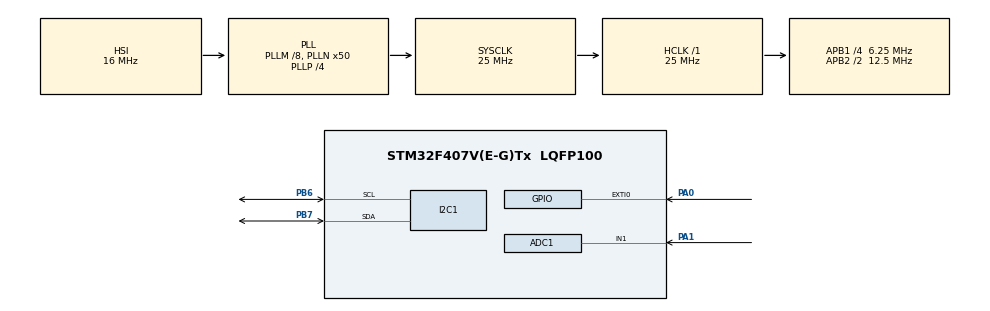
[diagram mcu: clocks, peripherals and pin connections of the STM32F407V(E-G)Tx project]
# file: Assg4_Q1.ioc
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ADC1.Channel-1\#ChannelRegularConversion=ADC_CHANNEL_1
ADC1.ClockPrescaler=ADC_CLOCK_SYNC_PCLK_DIV4
ADC1.NbrOfConversionFlag=1
ADC1.Rank-1\#ChannelRegularConversion=1
ADC1.SamplingTime-1\#ChannelRegularConversion=ADC_SAMPLETIME_3CYCLES
ADC1.master=1
Mcu.Family=STM32F4
Mcu.Name=STM32F407V(E-G)Tx
Mcu.Package=LQFP100
NVIC.PriorityGroup=NVIC_PRIORITYGROUP_0
PA0-WKUP.Signal=GPXTI0
PA1.Signal=ADCx_IN1
PB6.Mode=I2C
PB6.Signal=I2C1_SCL
PB7.Mode=I2C
PB7.Signal=I2C1_SDA
ProjectManager.HeapSize=0x200
ProjectManager.StackSize=0x400
ProjectManager.TargetToolchain=STM32CubeIDE
RCC.48MHZClocksFreq_Value=14285714.285714285
RCC.AHBFreq_Value=25000000
RCC.APB1CLKDivider=RCC_HCLK_DIV4
RCC.APB1Freq_Value=6250000
RCC.APB1TimFreq_Value=12500000
RCC.APB2CLKDivider=RCC_HCLK_DIV2
RCC.APB2Freq_Value=12500000
RCC.APB2TimFreq_Value=25000000
RCC.CortexFreq_Value=25000000
RCC.HCLKFreq_Value=25000000
RCC.HSE_VALUE=8000000
RCC.HSI_VALUE=16000000
RCC.LSE_VALUE=32768
RCC.PLLM=8
RCC.PLLN=50
RCC.PLLP=RCC_PLLP_DIV4
RCC.PLLQ=7
RCC.SYSCLKFreq_VALUE=25000000
RCC.SYSCLKSource=RCC_SYSCLKSOURCE_PLLCLK
RCC.VCOOutputFreq_Value=100000000
SH.ADCx_IN1.0=ADC1_IN1,IN1
board=STM32F407G-DISC1

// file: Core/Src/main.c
/* USER CODE BEGIN Header */
/**
  ******************************************************************************
  * @file           : main.c
  * @brief          : Main program body
  ******************************************************************************
  * @attention
  *
  * Copyright (c) 2026 STMicroelectronics.
  * All rights reserved.
  *
  * This software is licensed under terms that can be found in the LICENSE file
  * in the root directory of this software component.
  * If no LICENSE file comes with this software, it is provided AS-IS.
  *
  ******************************************************************************
  */
/* USER CODE END Header */
#include "main.h"

/* USER CODE BEGIN Includes */
#include "lcd.h"
#include<stdio.h>
#include<string.h>

/* USER CODE END Includes */

ADC_HandleTypeDef hadc1;

I2C_HandleTypeDef hi2c1;

void SystemClock_Config(void);
static void MX_GPIO_Init(void);
static void MX_ADC1_Init(void);
static void MX_I2C1_Init(void);

int main(void)
{

  /* MCU Configuration--------------------------------------------------------*/

  /* Reset of all peripherals, Initializes the Flash interface and the Systick. */
  HAL_Init();

  /* Configure the system clock */
  SystemClock_Config();

  /* Initialize all configured peripherals */
  MX_GPIO_Init();
  MX_ADC1_Init();
  MX_I2C1_Init();
  /* USER CODE BEGIN 2 */
lcd_init();
lcd_puts(LCD_LINE1, " LDR Monitor ");
lcd_puts(LCD_LINE2, "Press Button...");
/* USER CODE END 2 */

  /* Infinite loop */
  /* USER CODE BEGIN WHILE */
  while (1)
  {
	  if(HAL_GPIO_ReadPin(GPIOA, GPIO_PIN_0) == GPIO_PIN_SET)
	  {
		  uint32_t ldr_val = 0;
		  char lcd_buffer[16] = {0};

		  HAL_ADC_Start(&hadc1);
		  if(HAL_ADC_PollForConversion(&hadc1, 10) == HAL_OK)
		  {
			  ldr_val = HAL_ADC_GetValue(&hadc1);
		  }
		  HAL_ADC_Stop(&hadc1);
		  sprintf(lcd_buffer, "LDR Value:%4lu ", ldr_val);

		  lcd_puts(LCD_LINE2, lcd_buffer);

		  HAL_Delay(250);
	  }
    /* USER CODE END WHILE */

  }
}

void SystemClock_Config(void)
{
  RCC_OscInitTypeDef RCC_OscInitStruct = {0};
  RCC_ClkInitTypeDef RCC_ClkInitStruct = {0};

  /** Configure the main internal regulator output voltage
  */
  __HAL_RCC_PWR_CLK_ENABLE();
  __HAL_PWR_VOLTAGESCALING_CONFIG(PWR_REGULATOR_VOLTAGE_SCALE1);

  /** Initializes the RCC Oscillators according to the specified parameters
  * in the RCC_OscInitTypeDef structure.
  */
  RCC_OscInitStruct.OscillatorType = RCC_OSCILLATORTYPE_HSI;
  RCC_OscInitStruct.HSIState = RCC_HSI_ON;
  RCC_OscInitStruct.HSICalibrationValue = RCC_HSICALIBRATION_DEFAULT;
  RCC_OscInitStruct.PLL.PLLState = RCC_PLL_ON;
  RCC_OscInitStruct.PLL.PLLSource = RCC_PLLSOURCE_HSI;
  RCC_OscInitStruct.PLL.PLLM = 8;
  RCC_OscInitStruct.PLL.PLLN = 50;
  RCC_OscInitStruct.PLL.PLLP = RCC_PLLP_DIV4;
  RCC_OscInitStruct.PLL.PLLQ = 7;
  if (HAL_RCC_OscConfig(&RCC_OscInitStruct) != HAL_OK)
  {
    Error_Handler();
  }

  /** Initializes the CPU, AHB and APB buses clocks
  */
  RCC_ClkInitStruct.ClockType = RCC_CLOCKTYPE_HCLK|RCC_CLOCKTYPE_SYSCLK
                              |RCC_CLOCKTYPE_PCLK1|RCC_CLOCKTYPE_PCLK2;
  RCC_ClkInitStruct.SYSCLKSource = RCC_SYSCLKSOURCE_PLLCLK;
  RCC_ClkInitStruct.AHBCLKDivider = RCC_SYSCLK_DIV1;
  RCC_ClkInitStruct.APB1CLKDivider = RCC_HCLK_DIV4;
  RCC_ClkInitStruct.APB2CLKDivider = RCC_HCLK_DIV2;

  if (HAL_RCC_ClockConfig(&RCC_ClkInitStruct, FLASH_LATENCY_0) != HAL_OK)
  {
    Error_Handler();
  }
}

static void MX_ADC1_Init(void)
{

  ADC_ChannelConfTypeDef sConfig = {0};

  /** Configure the global features of the ADC (Clock, Resolution, Data Alignment and number of conversion)
  */
  hadc1.Instance = ADC1;
  hadc1.Init.ClockPrescaler = ADC_CLOCK_SYNC_PCLK_DIV4;
  hadc1.Init.Resolution = ADC_RESOLUTION_12B;
  hadc1.Init.ScanConvMode = DISABLE;
  hadc1.Init.ContinuousConvMode = DISABLE;
  hadc1.Init.DiscontinuousConvMode = DISABLE;
  hadc1.Init.ExternalTrigConvEdge = ADC_EXTERNALTRIGCONVEDGE_NONE;
  hadc1.Init.ExternalTrigConv = ADC_SOFTWARE_START;
  hadc1.Init.DataAlign = ADC_DATAALIGN_RIGHT;
  hadc1.Init.NbrOfConversion = 1;
  hadc1.Init.DMAContinuousRequests = DISABLE;
  hadc1.Init.EOCSelection = ADC_EOC_SINGLE_CONV;
  if (HAL_ADC_Init(&hadc1) != HAL_OK)
  {
    Error_Handler();
  }

  /** Configure for the selected ADC regular channel its corresponding rank in the sequencer and its sample time.
  */
  sConfig.Channel = ADC_CHANNEL_1;
  sConfig.Rank = 1;
  sConfig.SamplingTime = ADC_SAMPLETIME_3CYCLES;
  if (HAL_ADC_ConfigChannel(&hadc1, &sConfig) != HAL_OK)
  {
    Error_Handler();
  }

}

static void MX_I2C1_Init(void)
{

  hi2c1.Instance = I2C1;
  hi2c1.Init.ClockSpeed = 100000;
  hi2c1.Init.DutyCycle = I2C_DUTYCYCLE_2;
  hi2c1.Init.OwnAddress1 = 0;
  hi2c1.Init.AddressingMode = I2C_ADDRESSINGMODE_7BIT;
  hi2c1.Init.DualAddressMode = I2C_DUALADDRESS_DISABLE;
  hi2c1.Init.OwnAddress2 = 0;
  hi2c1.Init.GeneralCallMode = I2C_GENERALCALL_DISABLE;
  hi2c1.Init.NoStretchMode = I2C_NOSTRETCH_DISABLE;
  if (HAL_I2C_Init(&hi2c1) != HAL_OK)
  {
    Error_Handler();
  }

}

static void MX_GPIO_Init(void)
{
  GPIO_InitTypeDef GPIO_InitStruct = {0};

  /* GPIO Ports Clock Enable */
  __HAL_RCC_GPIOA_CLK_ENABLE();
  __HAL_RCC_GPIOB_CLK_ENABLE();

  /*Configure GPIO pin : PA0 */
  GPIO_InitStruct.Pin = GPIO_PIN_0;
  GPIO_InitStruct.Mode = GPIO_MODE_IT_RISING;
  GPIO_InitStruct.Pull = GPIO_NOPULL;
  HAL_GPIO_Init(GPIOA, &GPIO_InitStruct);

}

void Error_Handler(void)
{
  __disable_irq();
  while (1)
  {
  }
}
